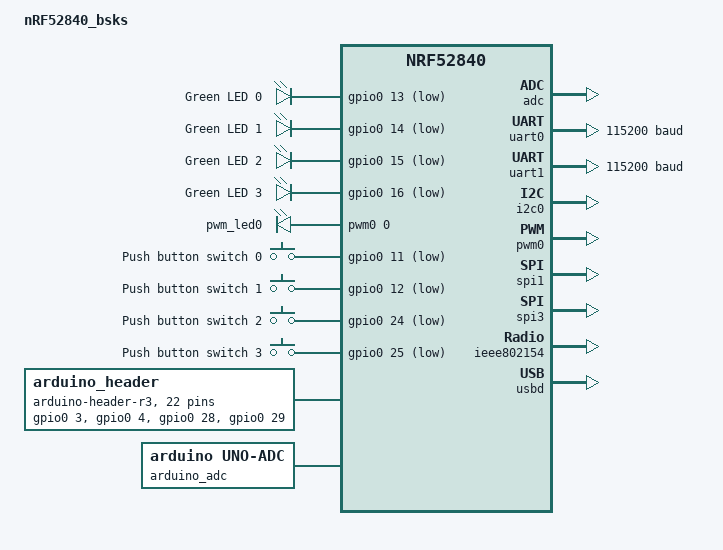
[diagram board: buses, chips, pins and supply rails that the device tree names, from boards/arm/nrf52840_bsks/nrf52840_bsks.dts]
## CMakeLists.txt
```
#
# Copyright (c) 2018 Nordic Semiconductor
#
# SPDX-License-Identifier: LicenseRef-Nordic-5-Clause
#
cmake_minimum_required(VERSION 3.20.0)

find_package(Zephyr REQUIRED HINTS $ENV{ZEPHYR_BASE})
project(bsks_ble_peripheral)

# NORDIC SDK APP START
target_sources(app PRIVATE
  src/main.c
  src/bsks_service.c
)

# NORDIC SDK APP END
zephyr_library_include_directories(.)
```

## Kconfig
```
#
# Copyright (c) 2018 Nordic Semiconductor
#
# SPDX-License-Identifier: LicenseRef-Nordic-5-Clause
#

source "Kconfig.zephyr"

menu "Nordic LED-Button BLE GATT service sample"

config BT_LBS_SECURITY_ENABLED
	bool "Enable security"
	default n
	select BT_SMP
	select BT_SETTINGS
	select FLASH
	select FLASH_PAGE_LAYOUT
	select FLASH_MAP
	select NVS
	select SETTINGS
	help
	  "Enable BLE security for the LED-Button service"

config BSKS_LOG_LEVEL
	int "BSKS APP log level"
	default 4
	range 0 4
	help
	  Sets log level for BSKS_APP 
	  - 0 OFF, do not write by default
	  - 1 ERROR, default to only write LOG_LEVEL_ERR
	  - 2 WARNING, default to write LOG_LEVEL_WRN
	  - 3 INFO, default to write LOG_LEVEL_INFO
	  - 4 DEBUG, default to write LOG_LEVEL_DBG
	  
endmenu
```

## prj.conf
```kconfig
# enabling log module
CONFIG_LOG=y
# in deffered mode
CONFIG_LOG_MODE_IMMEDIATE=y
# sets log level for modules which don't specify it explicitly to ERR
CONFIG_LOG_DEFAULT_LEVEL=1
# enable assert loging 
CONFIG_ASSERT=y
# printk messages will be threated as log with severity 0 (cannot be disabled)
CONFIG_LOG_PRINTK=y
# button and LED library
CONFIG_DK_LIBRARY=y
# add stos files
CONFIG_BT=y

CONFIG_BT_PERIPHERAL=y

CONFIG_BT_GAP_AUTO_UPDATE_CONN_PARAMS=y              
# Connection Parameters zostaną automatycznie zaktualizowane na prośbę urządzenia Peripheral
CONFIG_BT_GAP_PERIPHERAL_PREF_PARAMS=y                    
# charakterystyka Peripheral Preferred Connection Parameters zostanie dołączona do Generic Access
CONFIG_BT_PERIPHERAL_PREF_MIN_INT=320                           
# do wyliczenia min 400 ms
CONFIG_BT_PERIPHERAL_PREF_MAX_INT=480                           
# do wyliczenia max 500 ms
CONFIG_BT_PERIPHERAL_PREF_LATENCY=0
CONFIG_BT_PERIPHERAL_PREF_TIMEOUT=200                           
# zastosować wartość 2 s.
CONFIG_BT_DEVICE_NAME="BSKS 11"                                   
# nazwa urządzenia
CONFIG_BT_DEVICE_APPEARANCE=25                                    
# pole appearance tak jak w pakiecie rozgłaszania
```

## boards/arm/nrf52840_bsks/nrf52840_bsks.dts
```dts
/dts-v1/;
#include <nordic/nrf52840_qiaa.dtsi>
#include "nrf52840dk_nrf52840-pinctrl.dtsi"
#include <zephyr/dt-bindings/input/input-event-codes.h>

/ {
	model = "nRF52840_bsks";
	compatible = "nordic,nrf52840-dk-nrf52840";

	chosen {
		zephyr,console = &uart0;
		zephyr,shell-uart = &uart0;
		zephyr,uart-mcumgr = &uart0;
		zephyr,bt-mon-uart = &uart0;
		zephyr,bt-c2h-uart = &uart0;
		zephyr,sram = &sram0;
		zephyr,flash = &flash0;
		zephyr,code-partition = &slot0_partition;
		zephyr,ieee802154 = &ieee802154;
	};

	leds {
		compatible = "gpio-leds";
		led0: led_0 {
			gpios = <&gpio0 13 GPIO_ACTIVE_LOW>;
			label = "Green LED 0";
		};
		led1: led_1 {
			gpios = <&gpio0 14 GPIO_ACTIVE_LOW>;
			label = "Green LED 1";
		};
		led2: led_2 {
			gpios = <&gpio0 15 GPIO_ACTIVE_LOW>;
			label = "Green LED 2";
		};
		led3: led_3 {
			gpios = <&gpio0 16 GPIO_ACTIVE_LOW>;
			label = "Green LED 3";
		};
	};

	pwmleds {
		compatible = "pwm-leds";
		pwm_led0: pwm_led_0 {
			pwms = <&pwm0 0 PWM_MSEC(20) PWM_POLARITY_INVERTED>;
		};
	};

	buttons {
		compatible = "gpio-keys";
		button0: button_0 {
			gpios = <&gpio0 11 (GPIO_PULL_UP | GPIO_ACTIVE_LOW)>;
			label = "Push button switch 0";
			zephyr,code = <INPUT_KEY_0>;
		};
		button1: button_1 {
			gpios = <&gpio0 12 (GPIO_PULL_UP | GPIO_ACTIVE_LOW)>;
			label = "Push button switch 1";
			zephyr,code = <INPUT_KEY_1>;
		};
		button2: button_2 {
			gpios = <&gpio0 24 (GPIO_PULL_UP | GPIO_ACTIVE_LOW)>;
			label = "Push button switch 2";
			zephyr,code = <INPUT_KEY_2>;
		};
		button3: button_3 {
			gpios = <&gpio0 25 (GPIO_PULL_UP | GPIO_ACTIVE_LOW)>;
			label = "Push button switch 3";
			zephyr,code = <INPUT_KEY_3>;
		};
	};

	arduino_header: connector {
		compatible = "arduino-header-r3";
		#gpio-cells = <2>;
		gpio-map-mask = <0xffffffff 0xffffffc0>;
		gpio-map-pass-thru = <0 0x3f>;
		gpio-map = <0 0 &gpio0 3 0>, /* A0 */
		           <1 0 &gpio0 4 0>, /* A1 */
		           <2 0 &gpio0 28 0>, /* A2 */
		           <3 0 &gpio0 29 0>, /* A3 */
		           <4 0 &gpio0 30 0>, /* A4 */
		           <5 0 &gpio0 31 0>, /* A5 */
		           <6 0 &gpio1 1 0>, /* D0 */
		           <7 0 &gpio1 2 0>, /* D1 */
		           <8 0 &gpio1 3 0>, /* D2 */
		           <9 0 &gpio1 4 0>, /* D3 */
		           <10 0 &gpio1 5 0>, /* D4 */
		           <11 0 &gpio1 6 0>, /* D5 */
		           <12 0 &gpio1 7 0>, /* D6 */
		           <13 0 &gpio1 8 0>, /* D7 */
		           <14 0 &gpio1 10 0>, /* D8 */
		           <15 0 &gpio1 11 0>, /* D9 */
		           <16 0 &gpio1 12 0>, /* D10 */
		           <17 0 &gpio1 13 0>, /* D11 */
		           <18 0 &gpio1 14 0>, /* D12 */
		           <19 0 &gpio1 15 0>, /* D13 */
		           <20 0 &gpio0 26 0>, /* D14 */
		           <21 0 &gpio0 27 0>;    /* D15 */
	};

	arduino_adc: analog-connector {
		compatible = "arduino,uno-adc";
		#io-channel-cells = <1>;
		io-channel-map = <0 &adc 1>, /* A0 = P0.3 = AIN1 */
		                 <1 &adc 2>, /* A1 = P0.4 = AIN2 */
		                 <2 &adc 4>, /* A2 = P0.28 = AIN4 */
		                 <3 &adc 5>, /* A3 = P0.29 = AIN5 */
		                 <4 &adc 6>, /* A4 = P0.30 = AIN6 */
		                 <5 &adc 7>;    /* A5 = P0.31 = AIN7 */
	};

	/* These aliases are provided for compatibility with samples */
	aliases {
		led0 = &led0;
		led1 = &led1;
		led2 = &led2;
		led3 = &led3;
		pwm-led0 = &pwm_led0;
		sw0 = &button0;
		sw1 = &button1;
		sw2 = &button2;
		sw3 = &button3;
		bootloader-led0 = &led0;
		mcuboot-button0 = &button0;
		mcuboot-led0 = &led0;
		watchdog0 = &wdt0;
		spi-flash0 = &mx25r64;
	};
};

&adc {
	status = "okay";
};

&uicr {
	gpio-as-nreset;
};

&gpiote {
	status = "okay";
};

&gpio0 {
	status = "okay";
};

&gpio1 {
	status = "okay";
};

&uart0 {
	compatible = "nordic,nrf-uarte";
	status = "okay";
	current-speed = <115200>;
	pinctrl-0 = <&uart0_default>;
	pinctrl-1 = <&uart0_sleep>;
	pinctrl-names = "default", "sleep";
};

arduino_serial: &uart1 {
	current-speed = <115200>;
	pinctrl-0 = <&uart1_default>;
	pinctrl-1 = <&uart1_sleep>;
	pinctrl-names = "default", "sleep";
};

arduino_i2c: &i2c0 {
	compatible = "nordic,nrf-twi";
	status = "okay";
	pinctrl-0 = <&i2c0_default>;
	pinctrl-1 = <&i2c0_sleep>;
	pinctrl-names = "default", "sleep";
};

&i2c1 {
	compatible = "nordic,nrf-twi";
	/* Cannot be used together with spi1. */
	/* status = "okay"; */
	pinctrl-0 = <&i2c1_default>;
	pinctrl-1 = <&i2c1_sleep>;
	pinctrl-names = "default", "sleep";
};

&pwm0 {
	status = "okay";
	pinctrl-0 = <&pwm0_default>;
	pinctrl-1 = <&pwm0_sleep>;
	pinctrl-names = "default", "sleep";
};

&spi0 {
	compatible = "nordic,nrf-spi";
	/* Cannot be used together with i2c0. */
	/* status = "okay"; */
	pinctrl-0 = <&spi0_default>;
	pinctrl-1 = <&spi0_sleep>;
	pinctrl-names = "default", "sleep";
};

&spi1 {
	compatible = "nordic,nrf-spi";
	status = "okay";
	pinctrl-0 = <&spi1_default>;
	pinctrl-1 = <&spi1_sleep>;
	pinctrl-names = "default", "sleep";
};

&spi2 {
	compatible = "nordic,nrf-spi";
	status = "disabled";
	pinctrl-0 = <&spi2_default>;
	pinctrl-1 = <&spi2_sleep>;
	pinctrl-names = "default", "sleep";
};

&qspi {
	status = "disabled";
	pinctrl-0 = <&qspi_default>;
	pinctrl-1 = <&qspi_sleep>;
	pinctrl-names = "default", "sleep";
	mx25r64: mx25r6435f@0 {
		compatible = "nordic,qspi-nor";
		reg = <0>;
		/* MX25R64 supports only pp and pp4io */
		writeoc = "pp4io";
		/* MX25R64 supports all readoc options */
		readoc = "read4io";
		sck-frequency = <8000000>;
		jedec-id = [ c2 28 17  ];
		sfdp-bfp = [ e5 20 f1 ff ff ff ff 03 44 eb 08 6b 08 3b 04 bb ee ff ff ff ff ff 00 ff ff ff 00 ff 0c 20 0f 52 10 d8 00 ff 23 72 f5 00 82 ed 04 cc 44 83 68 44 30 b0 30 b0 f7 c4 d5 5c 00 be 29 ff f0 d0 ff ff  ];
		size = <67108864>;
		has-dpd;
		t-enter-dpd = <10000>;
		t-exit-dpd = <35000>;
	};
};

arduino_spi: &spi3 {
	status = "okay";
	cs-gpios = <&arduino_header 16 GPIO_ACTIVE_LOW>; /* D10 */
	pinctrl-0 = <&spi3_default>;
	pinctrl-1 = <&spi3_sleep>;
	pinctrl-names = "default", "sleep";
};

&ieee802154 {
	status = "okay";
};

&flash0 {

	partitions {
		compatible = "fixed-partitions";
		#address-cells = <1>;
		#size-cells = <1>;

		boot_partition: partition@0 {
			label = "mcuboot";
			reg = <0x00000000 0x0000C000>;
		};
		slot0_partition: partition@c000 {
			label = "image-0";
			reg = <0x0000C000 0x00076000>;
		};
		slot1_partition: partition@82000 {
			label = "image-1";
			reg = <0x00082000 0x00076000>;
		};

		/*
		 * The flash starting at 0x000f8000 and ending at
		 * 0x000fffff is reserved for use by the application.
		 */

		/*
		 * Storage partition will be used by FCB/LittleFS/NVS
		 * if enabled.
		 */
		storage_partition: partition@f8000 {
			label = "storage";
			reg = <0x000f8000 0x00008000>;
		};
	};
};

zephyr_udc0: &usbd {
	compatible = "nordic,nrf-usbd";
	status = "okay";
};
```

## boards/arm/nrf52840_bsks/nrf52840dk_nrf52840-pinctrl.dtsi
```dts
/*
 * Copyright (c) 2022 Nordic Semiconductor
 * SPDX-License-Identifier: Apache-2.0
 */

&pinctrl {
	uart0_default: uart0_default {
		group1 {
			psels = <NRF_PSEL(UART_TX, 0, 6)>,
				<NRF_PSEL(UART_RTS, 0, 5)>;
		};
		group2 {
			psels = <NRF_PSEL(UART_RX, 0, 8)>,
				<NRF_PSEL(UART_CTS, 0, 7)>;
			bias-pull-up;
		};
	};

	uart0_sleep: uart0_sleep {
		group1 {
			psels = <NRF_PSEL(UART_TX, 0, 6)>,
				<NRF_PSEL(UART_RX, 0, 8)>,
				<NRF_PSEL(UART_RTS, 0, 5)>,
				<NRF_PSEL(UART_CTS, 0, 7)>;
			low-power-enable;
		};
	};

	uart1_default: uart1_default {
		group1 {
			psels = <NRF_PSEL(UART_RX, 1, 1)>;
			bias-pull-up;
		};
		group2 {
			psels = <NRF_PSEL(UART_TX, 1, 2)>;
		};
	};

	uart1_sleep: uart1_sleep {
		group1 {
			psels = <NRF_PSEL(UART_RX, 1, 1)>,
				<NRF_PSEL(UART_TX, 1, 2)>;
			low-power-enable;
		};
	};

	i2c0_default: i2c0_default {
		group1 {
			psels = <NRF_PSEL(TWIM_SDA, 0, 26)>,
				<NRF_PSEL(TWIM_SCL, 0, 27)>;
		};
	};

	i2c0_sleep: i2c0_sleep {
		group1 {
			psels = <NRF_PSEL(TWIM_SDA, 0, 26)>,
				<NRF_PSEL(TWIM_SCL, 0, 27)>;
			low-power-enable;
		};
	};

	i2c1_default: i2c1_default {
		group1 {
			psels = <NRF_PSEL(TWIM_SDA, 0, 30)>,
				<NRF_PSEL(TWIM_SCL, 0, 31)>;
		};
	};

	i2c1_sleep: i2c1_sleep {
		group1 {
			psels = <NRF_PSEL(TWIM_SDA, 0, 30)>,
				<NRF_PSEL(TWIM_SCL, 0, 31)>;
			low-power-enable;
		};
	};

	pwm0_default: pwm0_default {
		group1 {
			psels = <NRF_PSEL(PWM_OUT0, 0, 13)>;
			nordic,invert;
		};
	};

	pwm0_sleep: pwm0_sleep {
		group1 {
			psels = <NRF_PSEL(PWM_OUT0, 0, 13)>;
			low-power-enable;
		};
	};

	spi0_default: spi0_default {
		group1 {
			psels = <NRF_PSEL(SPIM_SCK, 0, 27)>,
				<NRF_PSEL(SPIM_MOSI, 0, 26)>,
				<NRF_PSEL(SPIM_MISO, 0, 29)>;
		};
	};

	spi0_sleep: spi0_sleep {
		group1 {
			psels = <NRF_PSEL(SPIM_SCK, 0, 27)>,
				<NRF_PSEL(SPIM_MOSI, 0, 26)>,
				<NRF_PSEL(SPIM_MISO, 0, 29)>;
			low-power-enable;
		};
	};

	spi1_default: spi1_default {
		group1 {
			psels = <NRF_PSEL(SPIM_SCK, 0, 31)>,
				<NRF_PSEL(SPIM_MOSI, 0, 30)>,
				<NRF_PSEL(SPIM_MISO, 1, 8)>;
		};
	};

	spi1_sleep: spi1_sleep {
		group1 {
			psels = <NRF_PSEL(SPIM_SCK, 0, 31)>,
				<NRF_PSEL(SPIM_MOSI, 0, 30)>,
				<NRF_PSEL(SPIM_MISO, 1, 8)>;
			low-power-enable;
		};
	};

	spi2_default: spi2_default {
		group1 {
			psels = <NRF_PSEL(SPIM_SCK, 0, 19)>,
				<NRF_PSEL(SPIM_MOSI, 0, 20)>,
				<NRF_PSEL(SPIM_MISO, 0, 21)>;
		};
	};

	spi2_sleep: spi2_sleep {
		group1 {
			psels = <NRF_PSEL(SPIM_SCK, 0, 19)>,
				<NRF_PSEL(SPIM_MOSI, 0, 20)>,
				<NRF_PSEL(SPIM_MISO, 0, 21)>;
			low-power-enable;
		};
	};

	qspi_default: qspi_default {
		group1 {
			psels = <NRF_PSEL(QSPI_SCK, 0, 19)>,
				<NRF_PSEL(QSPI_IO0, 0, 20)>,
				<NRF_PSEL(QSPI_IO1, 0, 21)>,
				<NRF_PSEL(QSPI_IO2, 0, 22)>,
				<NRF_PSEL(QSPI_IO3, 0, 23)>,
				<NRF_PSEL(QSPI_CSN, 0, 17)>;
			nordic,drive-mode = <NRF_DRIVE_H0H1>;
		};
	};

	qspi_sleep: qspi_sleep {
		group1 {
			psels = <NRF_PSEL(QSPI_SCK, 0, 19)>,
				<NRF_PSEL(QSPI_IO0, 0, 20)>,
				<NRF_PSEL(QSPI_IO1, 0, 21)>,
				<NRF_PSEL(QSPI_IO2, 0, 22)>,
				<NRF_PSEL(QSPI_IO3, 0, 23)>;
			low-power-enable;
		};
		group2 {
			psels = <NRF_PSEL(QSPI_CSN, 0, 17)>;
			low-power-enable;
			bias-pull-up;
		};
	};

	spi3_default: spi3_default {
		group1 {
			psels = <NRF_PSEL(SPIM_SCK, 1, 15)>,
				<NRF_PSEL(SPIM_MISO, 1, 14)>,
				<NRF_PSEL(SPIM_MOSI, 1, 13)>;
		};
	};

	spi3_sleep: spi3_sleep {
		group1 {
			psels = <NRF_PSEL(SPIM_SCK, 1, 15)>,
				<NRF_PSEL(SPIM_MISO, 1, 14)>,
				<NRF_PSEL(SPIM_MOSI, 1, 13)>;
			low-power-enable;
		};
	};

};
```

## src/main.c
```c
#include <autoconf.h>
#include <dk_buttons_and_leds.h>
#include <soc.h>
#include <zephyr/bluetooth/bluetooth.h>
#include <zephyr/bluetooth/conn.h>
#include <zephyr/kernel.h>
#include <zephyr/sys/printk.h>

#include <errno.h>
#include <stdbool.h>
#include <stddef.h>
#include <string.h>


#define LOG_LEVEL CONFIG_BSKS_LOG_LEVEL
#include <zephyr/logging/log.h>
LOG_MODULE_REGISTER(bsks_app);

#include "bsks_service.h"

#define LED_RUN_STATUS                   DK_LED1
#define LED_RUN_STATUS_BLINK_INTERVAL_MS 500

#define BUTTON_1    DK_BTN1_MSK
#define DEVICE_NAME "BSKS 11"

uint16_t gap_apperance[2] = {320, 480};

static const struct bt_data ad[] = {BT_DATA_BYTES(BT_DATA_FLAGS, (BT_LE_AD_GENERAL | BT_LE_AD_NO_BREDR)),
                                    BT_DATA(BT_DATA_NAME_COMPLETE, DEVICE_NAME, sizeof(DEVICE_NAME)),
                                    BT_DATA(BT_DATA_GAP_APPEARANCE, gap_apperance, sizeof(gap_apperance))};

static const struct bt_le_adv_param* adv_param = BT_LE_ADV_PARAM((BT_LE_ADV_OPT_ONE_TIME | BT_LE_ADV_OPT_CONNECTABLE), 160, 320, NULL);

struct bt_conn* glob_conn;
int             reenable_adv;

static void bt_enable_cb() {
    LOG_DBG("Bluetooth Enable");
}

static void button_changed(uint32_t state, uint32_t button) {
    LOG_DBG("Button %" PRIx32 ", has changed %" PRIx32, button, state);
}

static void bt_register_connected(struct bt_conn* conn, uint8_t err) {
    if (!err) {
        LOG_DBG("Connection error");
        bt_addr_le_t* adress = bt_conn_get_dst(conn);
        char          str[BT_ADDR_LE_STR_LEN];
        bt_addr_le_to_str(adress, str, BT_ADDR_LE_STR_LEN);
        glob_conn = conn;
    } else {
        LOG_DBG("Connection error %d", err);
    }
}

static void bt_register_disconnected(struct bt_conn* conn, uint8_t reason) {
    LOG_DBG("Disconnected %d", reason);
    if (reason == BT_HCI_ERR_REMOTE_USER_TERM_CONN) {
        LOG_DBG("User");
    } else if (BT_HCI_ERR_CONN_TIMEOUT) {
        LOG_DBG("Timeout");
    } else {
        LOG_DBG("%x", reason);
    }
    reenable_adv = 1;
}

static void bt_register_update(struct bt_conn* conn, uint16_t interval, uint16_t latency, uint16_t timeout) {
    LOG_DBG("Parameter updated");
    LOG_DBG("interval %d", interval);
    LOG_DBG("latency %d", latency);
    LOG_DBG("timeout %d", timeout);
}

void my_bsks_on_server_initiated_cb(bool active) {
    struct bt_le_conn_param paramy = {.interval_min = 8, .interval_max = 24, .latency = 2, .timeout = 200};


    if (active) {
        LOG_DBG("indication on");
    } else {
        paramy.interval_min = CONFIG_BT_PERIPHERAL_PREF_MIN_INT;
        paramy.interval_max = CONFIG_BT_PERIPHERAL_PREF_MAX_INT;
        paramy.latency      = CONFIG_BT_PERIPHERAL_PREF_LATENCY;
        paramy.timeout      = CONFIG_BT_PERIPHERAL_PREF_TIMEOUT;
        LOG_DBG("indication off");
    }
    bt_conn_le_param_update(glob_conn, &paramy);
}

void my_bsks_on_data_sent_cb() {
    LOG_DBG("Data sent");
}

void my_bsks_on_data_cb(const uint8_t* data, size_t data_length) {
    LOG_DBG("Data: %s", (char*)data);
}

int main(void) {
    printk("Starting BSKS peripheral device\n");

    int err;
    if ((err = dk_leds_init())) {
        LOG_ERR("LEDs init failed (err %d)", err);
        k_oops();
    }

    if ((err = dk_buttons_init(button_changed))) {
        LOG_ERR("Button init failed (err %d)", err);
        k_oops();
    }

    if ((err = bt_enable(bt_enable_cb))) {
        LOG_ERR("BLuetooth enabled failed (err %d)", err);
        k_oops();
    }

    struct bt_conn_cb cb = {.connected = bt_register_connected, .disconnected = bt_register_disconnected, .le_param_updated = bt_register_update};

    bt_conn_cb_register(&cb);


    bsks_service_cb my_bsks_service = {
        .on_server_initiated = my_bsks_on_server_initiated_cb,
        .on_data_sent        = my_bsks_on_data_sent_cb,
        .on_data             = my_bsks_on_data_cb,
    };
    bsks_service_init(&my_bsks_service);

    if ((err = bt_le_adv_start(adv_param, ad, ARRAY_SIZE(ad), NULL, 0))) {
        LOG_ERR("BLuetooth advertising failed (err %d)", err);
        k_oops();
    }

    int blink_status = 0;
    while (true) {
        dk_set_led(LED_RUN_STATUS, (++blink_status) % 2);
        k_sleep(K_MSEC(LED_RUN_STATUS_BLINK_INTERVAL_MS));
    }
}
```

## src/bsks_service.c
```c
#include "bsks_service.h"

#include <zephyr/bluetooth/bluetooth.h>
#include <zephyr/bluetooth/conn.h>
#include <zephyr/bluetooth/gatt.h>
#include <zephyr/bluetooth/uuid.h>
#include <zephyr/kernel.h>
#include <zephyr/logging/log.h>
#include <zephyr/sys/printk.h>

#include <errno.h>
#include <stddef.h>
#include <string.h>



#define LOG_LEVEL CONFIG_BSKS_LOG_LEVEL
LOG_MODULE_REGISTER(bsks_service, LOG_LEVEL);
static struct k_mutex my_mutex;

static uint8_t         data_buffer[255];
static size_t          data_buffer_size = sizeof(data_buffer);
static bsks_service_cb bsks_service_cb_ptr;


static ssize_t write_hash(struct bt_conn* conn, const struct bt_gatt_attr* attr, const void* buf, uint16_t len, uint16_t offset, uint8_t flags) {
    LOG_DBG("write_hash cb");
    return 0;
}

static ssize_t read_nonce(struct bt_conn* conn, const struct bt_gatt_attr* attr, void* buf, uint16_t len, uint16_t offset) {
    LOG_DBG("read_nonce cb");
    return 0;
}

static ssize_t write_data(struct bt_conn* conn, const struct bt_gatt_attr* attr, const void* buf, uint16_t len, uint16_t offset, uint8_t flags) {
    LOG_DBG("DATA write, h: %u, c: %p", attr->handle, (void*)conn);
    if (offset != 0) {
        LOG_DBG("Incorrect data offset on write BSKS Data");
        return BT_GATT_ERR(BT_ATT_ERR_INVALID_OFFSET);
    }
    if (bsks_service_cb_ptr.on_data) {
        bsks_service_cb_ptr.on_data(buf, len);
    }
    return len;
}
static ssize_t write_control(struct bt_conn* conn, const struct bt_gatt_attr* attr, const void* buf, uint16_t len, uint16_t offset, uint8_t flags) {
    LOG_DBG("write_control cb");
    return 0;
}

static ssize_t read_data(struct bt_conn* conn, const struct bt_gatt_attr* attr, void* buf, uint16_t len, uint16_t offset) {
    LOG_DBG("read_data cb");
}

static ssize_t read_control(struct bt_conn* conn, const struct bt_gatt_attr* attr, void* buf, uint16_t len, uint16_t offset) {
    LOG_DBG("read_control cb");
    return 0;
}


static bool indication_enable = 0;

static void ccc_cfg_changed(const struct bt_gatt_attr* attr, uint16_t value) {
    indication_enable = (value == BT_GATT_CCC_INDICATE);
    if (NULL != bsks_service_cb_ptr.on_server_initiated) {
        bsks_service_cb_ptr.on_server_initiated(indication_enable);
    }
    LOG_DBG("BSKS indication %s", indication_enable ? "on" : "off");
}

int bsks_service_init(const bsks_service_cb* cb) {
    LOG_DBG("initing mutex");
    k_mutex_init(&my_mutex);
    bsks_service_cb_ptr = *cb;
    return 0;
}


BT_GATT_SERVICE_DEFINE(bsks_svc,
                       BT_GATT_PRIMARY_SERVICE(BT_UUID_BSKS_SERVICE),
                       BT_GATT_CHARACTERISTIC(BT_UUID_BSKS_CHAR_NONCE, BT_GATT_CHRC_READ, BT_GATT_PERM_READ, read_nonce, NULL, NULL),
                       BT_GATT_CHARACTERISTIC(BT_UUID_BSKS_CHAR_HASH, BT_GATT_CHRC_WRITE, BT_GATT_PERM_WRITE, NULL, write_hash, NULL),
                       BT_GATT_CHARACTERISTIC(BT_UUID_BSKS_CHAR_DATA, BT_GATT_CHRC_WRITE | BT_GATT_CHRC_READ | BT_GATT_CHRC_INDICATE, BT_GATT_PERM_WRITE | BT_GATT_PERM_READ, read_data, write_data, NULL),
                       BT_GATT_CCC(ccc_cfg_changed, BT_GATT_PERM_READ | BT_GATT_PERM_WRITE),
                       BT_GATT_CHARACTERISTIC(BT_UUID_BSKS_CONTROL_DATA, BT_GATT_CHRC_READ | BT_GATT_CHRC_WRITE, BT_GATT_PERM_READ, read_control, write_control, NULL));
```

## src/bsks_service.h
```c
#ifndef BSKS_SERVICE_H_
#define BSKS_SERVICE_H_

#include <zephyr/bluetooth/uuid.h>

#include <stdbool.h>
#include <stdint.h>
#include <stdlib.h>


#define BSKS_GROUP 0x11 ///< SET ME!

/// @brief BSKS Service UUID
#define BT_UUID_BSKS_SERVICE_VAL BT_UUID_128_ENCODE((0x00000001 | (BSKS_GROUP << 8)), 0xdead, 0xbeef, 0xcafe, 0xbabe0c00ffee)
#define BT_UUID_BSKS_SERVICE     BT_UUID_DECLARE_128(BT_UUID_BSKS_SERVICE_VAL)
/// @brief BSKS Characteristic Nonce
#define BT_UUID_BSKS_CHAR_NONCE_VAL BT_UUID_128_ENCODE((0x00000002 | (BSKS_GROUP << 8)), 0xdead, 0xbeef, 0xcafe, 0xbabe0c00ffee)
#define BT_UUID_BSKS_CHAR_NONCE     BT_UUID_DECLARE_128(BT_UUID_BSKS_CHAR_NONCE_VAL)
/// @brief BSKS Characteristic Hash
#define BT_UUID_BSKS_CHAR_HASH_VAL BT_UUID_128_ENCODE((0x00000003 | (BSKS_GROUP << 8)), 0xdead, 0xbeef, 0xcafe, 0xbabe0c00ffee)
#define BT_UUID_BSKS_CHAR_HASH     BT_UUID_DECLARE_128(BT_UUID_BSKS_CHAR_HASH_VAL)
/// @brief BSKS Characteristic Data
#define BT_UUID_BSKS_CHAR_DATA_VAL BT_UUID_128_ENCODE((0x00000004 | (BSKS_GROUP << 8)), 0xdead, 0xbeef, 0xcafe, 0xbabe0c00ffee)
#define BT_UUID_BSKS_CHAR_DATA     BT_UUID_DECLARE_128(BT_UUID_BSKS_CHAR_DATA_VAL)
/// @brief BSKS Characteristic Control
#define BT_UUID_BSKS_CONTROL_DATA_VAL BT_UUID_128_ENCODE((0x00000005 | (BSKS_GROUP << 8)), 0xdead, 0xbeef, 0xcafe, 0xbabe0c00ffee)
#define BT_UUID_BSKS_CONTROL_DATA     BT_UUID_DECLARE_128(BT_UUID_BSKS_CONTROL_DATA_VAL)


/**
 * @brief Called on server initiated data transmission activation/deactivation.
 * @param active True if indication/notification turned on, otherwise false.
 *
 */
typedef void (*bsks_on_server_initiated_cb)(bool active);

/**
 * @brief Callback called when service calls for disconnection.
 *
 * Whenever data is received, this callback is called.
 * It is called from a context of a stack.
 *
 * @param data Data pointer.
 * @param data_length Data length.
 */
typedef void (*bsks_on_data_cb)(const uint8_t* data, size_t data_length);

/**
 * @brief Called when @ref bsks_set_data finished its work successfully.
 *
 * Indicates that data has been stored in server or has been successfully
 * sent via indication/notification mechanism.
 */
typedef void (*bsks_on_data_sent_cb)(void);

/**
 * @brief Callbacks placeholder.
 */
typedef struct {
    bsks_on_server_initiated_cb on_server_initiated;
    bsks_on_data_cb             on_data;
    bsks_on_data_sent_cb        on_data_sent;
} bsks_service_cb;

/**
 * @brief Initializes BSKS Service.
 * @param cb Callbacks placeholder structure, must not be NULL.
 */
int bsks_service_init(const bsks_service_cb* cb);

/**
 * @brief Data setter/sender.
 *
 * Sets data in characteristics, sends data to peer if indication/notification is enabled.
 * @ref bsks_on_data_sent_cb is called whenever data has been successfully sent.
 */
int bsks_set_data(const uint8_t* data, size_t data_length);

#endif // BSKS_SERVICE_H_
```
